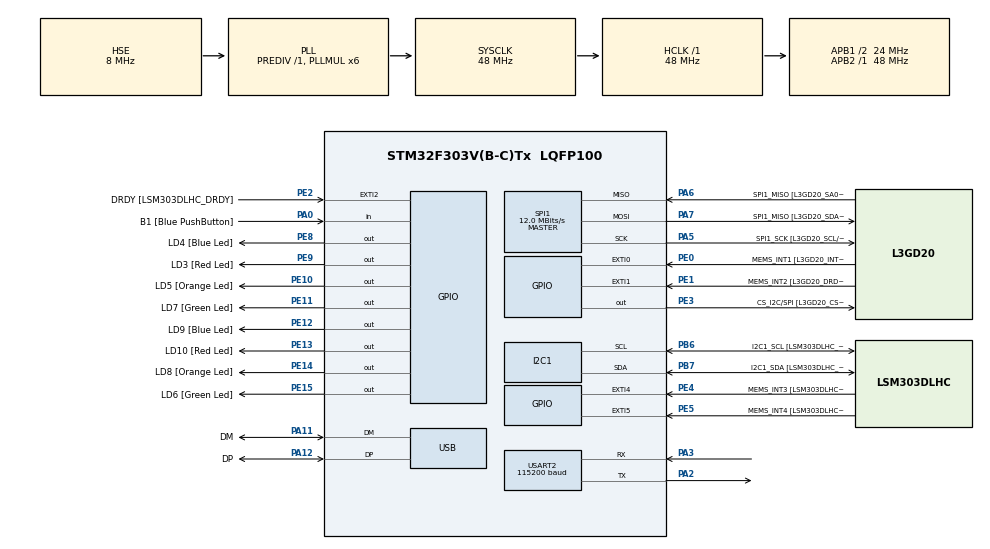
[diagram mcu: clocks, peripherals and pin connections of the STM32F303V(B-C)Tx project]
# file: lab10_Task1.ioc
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I2C1.Timing=0x2000090E
I2C1.Timing-I2C=0x2000090E
Mcu.Family=STM32F3
Mcu.Name=STM32F303V(B-C)Tx
Mcu.Package=LQFP100
NVIC.PriorityGroup=NVIC_PRIORITYGROUP_0
PA0.GPIO_Label=B1 [Blue PushButton]
PA0.Signal=GPIO_Input
PA11.GPIO_Label=DM
PA11.Mode=Device
PA11.Signal=USB_DM
PA12.GPIO_Label=DP
PA12.Mode=Device
PA12.Signal=USB_DP
PA13.GPIO_Label=SWDIO
PA13.Mode=Serial_Wire
PA13.Signal=SYS_JTMS-SWDIO
PA14.GPIO_Label=SWCLK
PA14.Mode=Serial_Wire
PA14.Signal=SYS_JTCK-SWCLK
PA2.Mode=Asynchronous
PA2.Signal=USART2_TX
PA3.Mode=Asynchronous
PA3.Signal=USART2_RX
PA5.GPIO_Label=SPI1_SCK [L3GD20_SCL/SPC]
PA5.Mode=Full_Duplex_Master
PA5.Signal=SPI1_SCK
PA6.GPIO_Label=SPI1_MISO [L3GD20_SA0/SDO]
PA6.Mode=Full_Duplex_Master
PA6.Signal=SPI1_MISO
PA7.GPIO_Label=SPI1_MISO [L3GD20_SDA/SDI/SDO]
PA7.Mode=Full_Duplex_Master
PA7.Signal=SPI1_MOSI
PB3.GPIO_Label=SWO
PB3.Signal=SYS_JTDO-TRACESWO
PB6.GPIO_Label=I2C1_SCL [LSM303DLHC_SCL]
PB6.GPIO_Pu=GPIO_PULLUP
PB6.Mode=I2C
PB6.Signal=I2C1_SCL
PB7.GPIO_Label=I2C1_SDA [LSM303DLHC_SDA]
PB7.GPIO_Pu=GPIO_PULLUP
PB7.Mode=I2C
PB7.Signal=I2C1_SDA
PC14-OSC32_IN.GPIO_Label=OSC32_IN
PC14-OSC32_IN.Signal=RCC_OSC32_IN
PC15-OSC32_OUT.GPIO_Label=OSC32_OUT
PC15-OSC32_OUT.Signal=RCC_OSC32_OUT
PE0.GPIO_Label=MEMS_INT1 [L3GD20_INT1]
PE0.GPIO_ModeDefaultEXTI=GPIO_MODE_EVT_RISING
PE0.Signal=GPXTI0
PE1.GPIO_Label=MEMS_INT2 [L3GD20_DRDY/INT2]
PE1.GPIO_ModeDefaultEXTI=GPIO_MODE_EVT_RISING
PE1.Signal=GPXTI1
PE10.GPIO_Label=LD5 [Orange Led]
PE10.Signal=GPIO_Output
PE11.GPIO_Label=LD7 [Green Led]
PE11.Signal=GPIO_Output
PE12.GPIO_Label=LD9 [Blue Led]
PE12.Signal=GPIO_Output
PE13.GPIO_Label=LD10 [Red Led]
PE13.Signal=GPIO_Output
PE14.GPIO_Label=LD8 [Orange Led]
PE14.Signal=GPIO_Output
PE15.GPIO_Label=LD6 [Green Led]
PE15.Signal=GPIO_Output
PE2.GPIO_Label=DRDY [LSM303DLHC_DRDY]
PE2.GPIO_ModeDefaultEXTI=GPIO_MODE_EVT_RISING
PE2.Signal=GPXTI2
PE3.GPIO_Label=CS_I2C/SPI [L3GD20_CS_I2C/SPI]
PE3.Signal=GPIO_Output
PE4.GPIO_Label=MEMS_INT3 [LSM303DLHC_INT1]
PE4.GPIO_ModeDefaultEXTI=GPIO_MODE_EVT_RISING
PE4.Signal=GPXTI4
PE5.GPIO_Label=MEMS_INT4 [LSM303DLHC_INT2]
PE5.GPIO_ModeDefaultEXTI=GPIO_MODE_EVT_RISING
PE5.Signal=GPXTI5
PE8.GPIO_Label=LD4 [Blue Led]
PE8.Signal=GPIO_Output
PE9.GPIO_Label=LD3 [Red Led]
PE9.Signal=GPIO_Output
PF0-OSC_IN.GPIO_Label=OSC_IN
PF0-OSC_IN.Mode=HSE-External-Clock-Source
PF0-OSC_IN.Signal=RCC_OSC_IN
PF1-OSC_OUT.GPIO_Label=OSC_OUT
PF1-OSC_OUT.Signal=RCC_OSC_OUT
ProjectManager.HeapSize=0x200
ProjectManager.StackSize=0x400
ProjectManager.TargetToolchain=CMake
RCC.AHBFreq_Value=48000000
RCC.APB1CLKDivider=RCC_HCLK_DIV2
RCC.APB1Freq_Value=24000000
RCC.APB1TimFreq_Value=48000000
RCC.APB2Freq_Value=48000000
RCC.APB2TimFreq_Value=48000000
RCC.CortexFreq_Value=48000000
RCC.HCLKFreq_Value=48000000
RCC.HSE_VALUE=8000000
RCC.HSI_VALUE=8000000
RCC.LSE_VALUE=32768
RCC.PLLMUL=RCC_PLL_MUL6
RCC.SYSCLKFreq_VALUE=48000000
RCC.SYSCLKSourceVirtual=RCC_SYSCLKSOURCE_PLLCLK
RCC.USBFreq_Value=48000000
SPI1.BaudRatePrescaler=SPI_BAUDRATEPRESCALER_4
SPI1.BaudRatePrescaler-Full_Duplex_Master=SPI_BAUDRATEPRESCALER_2
SPI1.CalculateBaudRate=12.0 MBits/s
SPI1.CalculateBaudRate-Full_Duplex_Master=24.0 MBits/s
SPI1.Direction=SPI_DIRECTION_2LINES
SPI1.Mode=SPI_MODE_MASTER
SPI1.Mode-Full_Duplex_Master=SPI_MODE_MASTER
SPI1.VirtualType=VM_MASTER
USART2.BaudRate=115200
USART2.VirtualMode-Asynchronous=VM_ASYNC
board=STM32F3DISCOVERY

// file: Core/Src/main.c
/* USER CODE BEGIN Header */
/**
  ******************************************************************************
  * @file           : main.c
  * @brief          : Main program body
  ******************************************************************************
  * @attention
  *
  * Copyright (c) 2026 STMicroelectronics.
  * All rights reserved.
  *
  * This software is licensed under terms that can be found in the LICENSE file
  * in the root directory of this software component.
  * If no LICENSE file comes with this software, it is provided AS-IS.
  *
  ******************************************************************************
  */
/* USER CODE END Header */
#include "main.h"

/* USER CODE BEGIN Includes */
#include <stdio.h>
#include <stdarg.h>
#include <string.h>
#include <stdlib.h>     // malloc, calloc, free
/* USER CODE END Includes */

/* USER CODE BEGIN PD */
#define N   10          // (a) number of integer elements in each array
/* USER CODE END PD */

I2C_HandleTypeDef hi2c1;

SPI_HandleTypeDef hspi1;

UART_HandleTypeDef huart2;

PCD_HandleTypeDef hpcd_USB_FS;

/* USER CODE BEGIN PV */
extern uint8_t _end;     // linker symbol: end of .bss, where the heap starts
extern uint8_t _estack;  // linker symbol: top of SRAM, where the stack starts
/* USER CODE END PV */

void SystemClock_Config(void);
static void MX_GPIO_Init(void);
static void MX_I2C1_Init(void);
static void MX_SPI1_Init(void);
static void MX_USART2_UART_Init(void);
static void MX_USB_PCD_Init(void);

/* USER CODE BEGIN 0 */

/* ===================== UART ===================== */
void myPrintf(const char *fmt, ...)
{
    char buffer[100];
    va_list args;
    va_start(args, fmt);
    vsnprintf(buffer, sizeof(buffer), fmt, args);
    va_end(args);
    HAL_UART_Transmit(&huart2, (uint8_t *)buffer, strlen(buffer), HAL_MAX_DELAY);
}

/* ===================== Helpers ===================== */

/* Shows where the heap and the stack begin in SRAM */
static void print_memory_layout(void)
{
    myPrintf("Heap starts at  %p (just after .data/.bss, grows up)\r\n", (void *)&_end);
    myPrintf("Stack starts at %p (top of SRAM, grows down)\r\n", (void *)&_estack);
}

/* Prints every element of an int array on one line */
static void print_array(const char *label, const int *arr, int n)
{
    myPrintf("%s:", label);
    for (int i = 0; i < n; i++)
    {
        myPrintf(" %d", arr[i]);
    }
    myPrintf("\r\n");
}

/* Returns 1 if every element is 0, otherwise 0 */
static int all_zero(const int *arr, int n)
{
    for (int i = 0; i < n; i++)
    {
        if (arr[i] != 0)
        {
            return 0;
        }
    }
    return 1;
}

/* ===================== Task 1 steps ===================== */

/* (b) malloc: allocate, check, show the uninitialised contents, fill with i*2 */
static int *make_malloc_array(int n)
{
    int *arr = (int *)malloc(n * sizeof(int));

    if (arr == NULL)
    {
        myPrintf("malloc failed: not enough heap\r\n");
        return NULL;
    }

    myPrintf("malloc: %u bytes at %p\r\n", (unsigned)(n * sizeof(int)), (void *)arr);
    print_array("  before init", arr, n);      // whatever was left in that RAM

    for (int i = 0; i < n; i++)
    {
        arr[i] = i * 2;
    }
    return arr;
}

/* (c) calloc: allocate, check, confirm all zero, fill with i+1 */
static int *make_calloc_array(int n)
{
    int *arr = (int *)calloc(n, sizeof(int));

    if (arr == NULL)
    {
        myPrintf("calloc failed: not enough heap\r\n");
        return NULL;
    }

    myPrintf("calloc: %u bytes at %p\r\n", (unsigned)(n * sizeof(int)), (void *)arr);
    print_array("  before init", arr, n);
    myPrintf("  all zero? %s\r\n", all_zero(arr, n) ? "YES" : "NO");

    for (int i = 0; i < n; i++)
    {
        arr[i] = i + 1;
    }
    return arr;
}

/* One complete run of Task 1: allocate -> use -> print -> free -> NULL */
static void memory_demo(unsigned int run)
{
    int local_var = 0;          // a normal local variable lives on the stack

    myPrintf("\r\n===== Run %u =====\r\n", run);
    myPrintf("Local variable (stack) at %p\r\n", (void *)&local_var);

    int *arr_malloc = make_malloc_array(N);
    if (arr_malloc == NULL)
    {
        return;
    }

    int *arr_calloc = make_calloc_array(N);
    if (arr_calloc == NULL)
    {
        free(arr_malloc);       // error path: release the first array, or it leaks
        arr_malloc = NULL;
        return;
    }

    /* (d) print both arrays */
    print_array("malloc array (i*2)", arr_malloc, N);
    print_array("calloc array (i+1)", arr_calloc, N);

    /* (e) give the memory back to the heap */
    free(arr_malloc);
    free(arr_calloc);

    /* (f) clear the pointers so they can't be used after free */
    arr_malloc = NULL;
    arr_calloc = NULL;

    /* (g) final message */
    myPrintf("Memory freed, pointers cleared: arr_malloc = %p, arr_calloc = %p\r\n",
             (void *)arr_malloc, (void *)arr_calloc);
}

/* USER CODE END 0 */

int main(void)
{

  /* USER CODE BEGIN 1 */
  unsigned int run = 1;
  /* USER CODE END 1 */

  /* MCU Configuration--------------------------------------------------------*/

  /* Reset of all peripherals, Initializes the Flash interface and the Systick. */
  HAL_Init();

  /* Configure the system clock */
  SystemClock_Config();

  /* Initialize all configured peripherals */
  MX_GPIO_Init();
  MX_I2C1_Init();
  MX_SPI1_Init();
  MX_USART2_UART_Init();
  MX_USB_PCD_Init();
  /* USER CODE BEGIN 2 */
  myPrintf("\r\nLab 10 Task 1: malloc / calloc / free\r\n");
  print_memory_layout();
  /* USER CODE END 2 */

  /* Infinite loop */
  while (1)
  {

    /* USER CODE BEGIN 3 */
    memory_demo(run++);
    HAL_Delay(5000);            // repeat every 5 s: same addresses = no leak
  }
  /* USER CODE END 3 */
}

void SystemClock_Config(void)
{
  RCC_OscInitTypeDef RCC_OscInitStruct = {0};
  RCC_ClkInitTypeDef RCC_ClkInitStruct = {0};
  RCC_PeriphCLKInitTypeDef PeriphClkInit = {0};

  /** Initializes the RCC Oscillators according to the specified parameters
  * in the RCC_OscInitTypeDef structure.
  */
  RCC_OscInitStruct.OscillatorType = RCC_OSCILLATORTYPE_HSI|RCC_OSCILLATORTYPE_HSE;
  RCC_OscInitStruct.HSEState = RCC_HSE_BYPASS;
  RCC_OscInitStruct.HSEPredivValue = RCC_HSE_PREDIV_DIV1;
  RCC_OscInitStruct.HSIState = RCC_HSI_ON;
  RCC_OscInitStruct.HSICalibrationValue = RCC_HSICALIBRATION_DEFAULT;
  RCC_OscInitStruct.PLL.PLLState = RCC_PLL_ON;
  RCC_OscInitStruct.PLL.PLLSource = RCC_PLLSOURCE_HSE;
  RCC_OscInitStruct.PLL.PLLMUL = RCC_PLL_MUL6;
  if (HAL_RCC_OscConfig(&RCC_OscInitStruct) != HAL_OK)
  {
    Error_Handler();
  }

  /** Initializes the CPU, AHB and APB buses clocks
  */
  RCC_ClkInitStruct.ClockType = RCC_CLOCKTYPE_HCLK|RCC_CLOCKTYPE_SYSCLK
                              |RCC_CLOCKTYPE_PCLK1|RCC_CLOCKTYPE_PCLK2;
  RCC_ClkInitStruct.SYSCLKSource = RCC_SYSCLKSOURCE_PLLCLK;
  RCC_ClkInitStruct.AHBCLKDivider = RCC_SYSCLK_DIV1;
  RCC_ClkInitStruct.APB1CLKDivider = RCC_HCLK_DIV2;
  RCC_ClkInitStruct.APB2CLKDivider = RCC_HCLK_DIV1;

  if (HAL_RCC_ClockConfig(&RCC_ClkInitStruct, FLASH_LATENCY_1) != HAL_OK)
  {
    Error_Handler();
  }
  PeriphClkInit.PeriphClockSelection = RCC_PERIPHCLK_USB|RCC_PERIPHCLK_USART2
                              |RCC_PERIPHCLK_I2C1;
  PeriphClkInit.Usart2ClockSelection = RCC_USART2CLKSOURCE_PCLK1;
  PeriphClkInit.I2c1ClockSelection = RCC_I2C1CLKSOURCE_HSI;
  PeriphClkInit.USBClockSelection = RCC_USBCLKSOURCE_PLL;
  if (HAL_RCCEx_PeriphCLKConfig(&PeriphClkInit) != HAL_OK)
  {
    Error_Handler();
  }
}

static void MX_I2C1_Init(void)
{

  hi2c1.Instance = I2C1;
  hi2c1.Init.Timing = 0x2000090E;
  hi2c1.Init.OwnAddress1 = 0;
  hi2c1.Init.AddressingMode = I2C_ADDRESSINGMODE_7BIT;
  hi2c1.Init.DualAddressMode = I2C_DUALADDRESS_DISABLE;
  hi2c1.Init.OwnAddress2 = 0;
  hi2c1.Init.OwnAddress2Masks = I2C_OA2_NOMASK;
  hi2c1.Init.GeneralCallMode = I2C_GENERALCALL_DISABLE;
  hi2c1.Init.NoStretchMode = I2C_NOSTRETCH_DISABLE;
  if (HAL_I2C_Init(&hi2c1) != HAL_OK)
  {
    Error_Handler();
  }

  /** Configure Analogue filter
  */
  if (HAL_I2CEx_ConfigAnalogFilter(&hi2c1, I2C_ANALOGFILTER_ENABLE) != HAL_OK)
  {
    Error_Handler();
  }

  /** Configure Digital filter
  */
  if (HAL_I2CEx_ConfigDigitalFilter(&hi2c1, 0) != HAL_OK)
  {
    Error_Handler();
  }

}

static void MX_SPI1_Init(void)
{

  /* SPI1 parameter configuration*/
  hspi1.Instance = SPI1;
  hspi1.Init.Mode = SPI_MODE_MASTER;
  hspi1.Init.Direction = SPI_DIRECTION_2LINES;
  hspi1.Init.DataSize = SPI_DATASIZE_4BIT;
  hspi1.Init.CLKPolarity = SPI_POLARITY_LOW;
  hspi1.Init.CLKPhase = SPI_PHASE_1EDGE;
  hspi1.Init.NSS = SPI_NSS_SOFT;
  hspi1.Init.BaudRatePrescaler = SPI_BAUDRATEPRESCALER_4;
  hspi1.Init.FirstBit = SPI_FIRSTBIT_MSB;
  hspi1.Init.TIMode = SPI_TIMODE_DISABLE;
  hspi1.Init.CRCCalculation = SPI_CRCCALCULATION_DISABLE;
  hspi1.Init.CRCPolynomial = 7;
  hspi1.Init.CRCLength = SPI_CRC_LENGTH_DATASIZE;
  hspi1.Init.NSSPMode = SPI_NSS_PULSE_ENABLE;
  if (HAL_SPI_Init(&hspi1) != HAL_OK)
  {
    Error_Handler();
  }

}

static void MX_USART2_UART_Init(void)
{

  huart2.Instance = USART2;
  huart2.Init.BaudRate = 115200;
  huart2.Init.WordLength = UART_WORDLENGTH_8B;
  huart2.Init.StopBits = UART_STOPBITS_1;
  huart2.Init.Parity = UART_PARITY_NONE;
  huart2.Init.Mode = UART_MODE_TX_RX;
  huart2.Init.HwFlowCtl = UART_HWCONTROL_NONE;
  huart2.Init.OverSampling = UART_OVERSAMPLING_16;
  huart2.Init.OneBitSampling = UART_ONE_BIT_SAMPLE_DISABLE;
  huart2.AdvancedInit.AdvFeatureInit = UART_ADVFEATURE_NO_INIT;
  if (HAL_UART_Init(&huart2) != HAL_OK)
  {
    Error_Handler();
  }

}

static void MX_USB_PCD_Init(void)
{

  hpcd_USB_FS.Instance = USB;
  hpcd_USB_FS.Init.dev_endpoints = 8;
  hpcd_USB_FS.Init.speed = PCD_SPEED_FULL;
  hpcd_USB_FS.Init.phy_itface = PCD_PHY_EMBEDDED;
  hpcd_USB_FS.Init.low_power_enable = DISABLE;
  hpcd_USB_FS.Init.battery_charging_enable = DISABLE;
  if (HAL_PCD_Init(&hpcd_USB_FS) != HAL_OK)
  {
    Error_Handler();
  }

}

static void MX_GPIO_Init(void)
{
  GPIO_InitTypeDef GPIO_InitStruct = {0};

  /* GPIO Ports Clock Enable */
  __HAL_RCC_GPIOE_CLK_ENABLE();
  __HAL_RCC_GPIOC_CLK_ENABLE();
  __HAL_RCC_GPIOF_CLK_ENABLE();
  __HAL_RCC_GPIOA_CLK_ENABLE();
  __HAL_RCC_GPIOB_CLK_ENABLE();

  /*Configure GPIO pin Output Level */
  HAL_GPIO_WritePin(GPIOE, CS_I2C_SPI_Pin|LD4_Pin|LD3_Pin|LD5_Pin
                          |LD7_Pin|LD9_Pin|LD10_Pin|LD8_Pin
                          |LD6_Pin, GPIO_PIN_RESET);

  /*Configure GPIO pins : DRDY_Pin MEMS_INT3_Pin MEMS_INT4_Pin MEMS_INT1_Pin
                           MEMS_INT2_Pin */
  GPIO_InitStruct.Pin = DRDY_Pin|MEMS_INT3_Pin|MEMS_INT4_Pin|MEMS_INT1_Pin
                          |MEMS_INT2_Pin;
  GPIO_InitStruct.Mode = GPIO_MODE_EVT_RISING;
  GPIO_InitStruct.Pull = GPIO_NOPULL;
  HAL_GPIO_Init(GPIOE, &GPIO_InitStruct);

  /*Configure GPIO pins : CS_I2C_SPI_Pin LD4_Pin LD3_Pin LD5_Pin
                           LD7_Pin LD9_Pin LD10_Pin LD8_Pin
                           LD6_Pin */
  GPIO_InitStruct.Pin = CS_I2C_SPI_Pin|LD4_Pin|LD3_Pin|LD5_Pin
                          |LD7_Pin|LD9_Pin|LD10_Pin|LD8_Pin
                          |LD6_Pin;
  GPIO_InitStruct.Mode = GPIO_MODE_OUTPUT_PP;
  GPIO_InitStruct.Pull = GPIO_NOPULL;
  GPIO_InitStruct.Speed = GPIO_SPEED_FREQ_LOW;
  HAL_GPIO_Init(GPIOE, &GPIO_InitStruct);

  /*Configure GPIO pin : B1_Pin */
  GPIO_InitStruct.Pin = B1_Pin;
  GPIO_InitStruct.Mode = GPIO_MODE_INPUT;
  GPIO_InitStruct.Pull = GPIO_NOPULL;
  HAL_GPIO_Init(B1_GPIO_Port, &GPIO_InitStruct);

}

void Error_Handler(void)
{
  __disable_irq();
  while (1)
  {
  }
}
